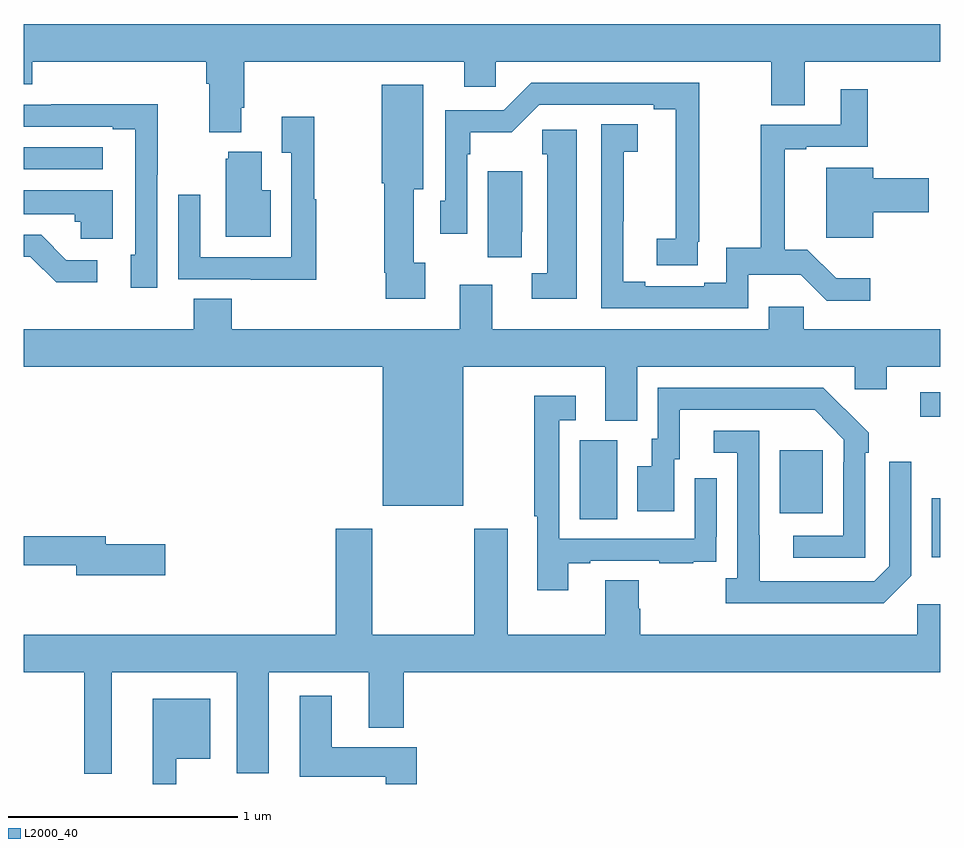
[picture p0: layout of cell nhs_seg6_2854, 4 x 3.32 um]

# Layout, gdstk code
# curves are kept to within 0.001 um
import gdstk
lib = gdstk.Library(unit=1e-6, precision=1e-09)
def R(c, l, rs):  # rectangles x0, y0, x1, y1
    for r in rs: c.add(gdstk.rectangle(r[:2], r[2:], *l))
def P(c, l, *ps):  # polygons
    for p in ps: c.add(gdstk.Polygon(p, *l))
L2000_40 = (2000, 40)

nhs_seg6_2854 = lib.new_cell('nhs_seg6_2854')
R(nhs_seg6_2854, L2000_40, [(282.962,962.489,283,962.746), (281.426,962.656,281.59,963), (282.299,962.681,282.487,962.956), (282.912,963.102,283,963.21), (279,964.182,279.346,964.278)])
P(nhs_seg6_2854, L2000_40, [(279.949,964.45),(279.962,964.45),(279.962,964.652),(280.922,964.652),(280.922,964.542),(281.061,964.542),(281.061,964.652),(282.262,964.652),(282.262,964.462),(282.409,964.462),(282.409,964.652),(283,964.652),(283,964.816),(279,964.816),(279,964.553),(279.038,964.553),(279.038,964.652),(279.797,964.652),(279.797,964.556),(279.809,964.556),(279.809,964.343),(279.949,964.343)],
  [(281.942,963.865),(281.948,963.865),(281.948,964.56),(281.214,964.56),(281.094,964.44),(280.839,964.44),(280.839,964.044),(280.818,964.044),(280.818,963.9),(280.935,963.9),(280.935,964.247),(280.948,964.247),(280.948,964.343),(281.129,964.343),(281.25,964.464),(281.75,964.464),(281.75,964.444),(281.846,964.444),(281.845,963.878),(281.763,963.878),(281.763,963.763),(281.942,963.763)],
  [(280.753,963.774),(280.702,963.774),(280.702,964.094),(280.744,964.094),(280.744,964.552),(280.562,964.552),(280.562,964.122),(280.573,964.122),(280.573,963.73),(280.58,963.73),(280.58,963.618),(280.753,963.618)],
  [(282.162,963.722),(282.391,963.722),(282.504,963.609),(282.694,963.609),(282.694,963.706),(282.545,963.706),(282.419,963.832),(282.32,963.832),(282.32,964.269),(282.415,964.269),(282.415,964.281),(282.683,964.281),(282.683,964.531),(282.566,964.531),(282.566,964.377),(282.217,964.377),(282.217,963.839),(282.066,963.839),(282.066,963.686),(281.969,963.686),(281.969,963.672),(281.713,963.672),(281.713,963.692),(281.617,963.692),(281.617,963.955),(281.619,963.955),(281.619,964.259),(281.68,964.259),(281.68,964.379),(281.52,964.379),(281.52,963.576),(282.162,963.576)],
  [(279.582,964.159),(279.585,964.159),(279.585,964.466),(279.121,964.466),(279.121,964.464),(279,964.464),(279,964.368),(279.389,964.368),(279.389,964.356),(279.486,964.356),(279.486,963.81),(279.467,963.81),(279.467,963.666),(279.582,963.666)],
  [(280.276,964.052),(280.268,964.052),(280.268,964.411),(280.127,964.411),(280.127,964.255),(280.167,964.255),(280.167,963.798),(279.771,963.798),(279.771,964.072),(279.675,964.072),(279.675,963.702),(279.991,963.702),(279.991,963.701),(280.276,963.701)],
  [(281.413,964.354),(281.263,964.354),(281.263,964.248),(281.285,964.248),(281.285,963.729),(281.217,963.729),(281.217,963.617),(281.413,963.617)],
  [(280.078,964.09),(280.039,964.09),(280.039,964.258),(279.893,964.258),(279.893,964.227),(279.881,964.227),(279.881,963.887),(280.078,963.887)],
  [(282.706,963.995),(282.949,963.995),(282.949,964.142),(282.706,964.142),(282.706,964.189),(282.503,964.189),(282.503,963.884),(282.706,963.884)],
  [(281.173,963.91),(281.176,963.91),(281.176,964.174),(281.024,964.174),(281.024,963.798),(281.173,963.798)],
  [(279.388,964.09),(279,964.09),(279,963.986),(279.223,963.986),(279.223,963.954),(279.249,963.954),(279.249,963.878),(279.388,963.878)],
  [(279.322,963.786),(279.187,963.786),(279.076,963.897),(279,963.897),(279,963.801),(279.03,963.801),(279.143,963.689),(279.322,963.689)],
  [(280.904,963.484),(279.908,963.484),(279.908,963.617),(279.743,963.617),(279.743,963.484),(279,963.484),(279,963.32),(280.568,963.32),(280.568,962.714),(280.918,962.714),(280.918,963.32),(281.537,963.32),(281.537,963.085),(281.677,963.085),(281.677,963.32),(282.627,963.32),(282.627,963.222),(282.766,963.222),(282.766,963.32),(283,963.32),(283,963.484),(282.403,963.484),(282.403,963.582),(282.251,963.582),(282.251,963.484),(281.044,963.484),(281.044,963.679),(280.904,963.679)],
  [(282.672,962.945),(282.687,962.945),(282.687,963.033),(282.49,963.228),(281.766,963.228),(281.766,963.006),(281.741,963.006),(281.741,962.887),(281.678,962.887),(281.678,962.691),(281.839,962.691),(281.839,962.916),(281.863,962.916),(281.863,963.132),(282.451,963.132),(282.579,963.003),(282.579,962.903),(282.576,962.903),(282.576,962.583),(282.357,962.583),(282.357,962.487),(282.672,962.487)],
  [(281.377,962.463),(281.473,962.463),(281.473,962.475),(281.773,962.475),(281.773,962.463),(281.921,962.463),(281.921,962.469),(282.023,962.469),(282.023,962.578),(282.024,962.578),(282.024,962.833),(281.928,962.833),(281.928,962.571),(281.337,962.571),(281.337,963.087),(281.41,963.087),(281.41,963.193),(281.229,963.193),(281.229,962.668),(281.241,962.668),(281.241,962.346),(281.377,962.346)],
  [(282.873,962.409),(282.873,962.905),(282.777,962.905),(282.777,962.451),(282.711,962.385),(282.211,962.385),(282.21,963.042),(282.012,963.042),(282.012,962.946),(282.114,962.946),(282.114,962.398),(282.063,962.398),(282.063,962.288),(282.752,962.288)],
  [(279.385,961.988),(279.929,961.988),(279.929,961.547),(280.069,961.547),(280.069,961.988),(280.505,961.988),(280.505,961.745),(280.658,961.745),(280.658,961.988),(283,961.988),(283,962.284),(282.9,962.284),(282.9,962.152),(281.69,962.152),(281.69,962.265),(281.685,962.265),(281.685,962.39),(281.537,962.39),(281.537,962.152),(281.113,962.152),(281.113,962.614),(280.966,962.614),(280.966,962.152),(280.521,962.152),(280.521,962.614),(280.361,962.614),(280.361,962.152),(279,962.152),(279,961.988),(279.264,961.988),(279.264,961.544),(279.385,961.544)],
  [(279.619,962.546),(279.358,962.546),(279.358,962.582),(279,962.582),(279,962.454),(279.23,962.454),(279.23,962.411),(279.619,962.411)],
  [(280.715,961.66),(280.345,961.66),(280.345,961.885),(280.205,961.885),(280.205,961.532),(280.58,961.532),(280.58,961.5),(280.715,961.5)],
  [(279.667,961.61),(279.814,961.61),(279.814,961.873),(279.563,961.873),(279.563,961.5),(279.667,961.5)])

lib.write_gds('nhs_seg6_2854.gds')
